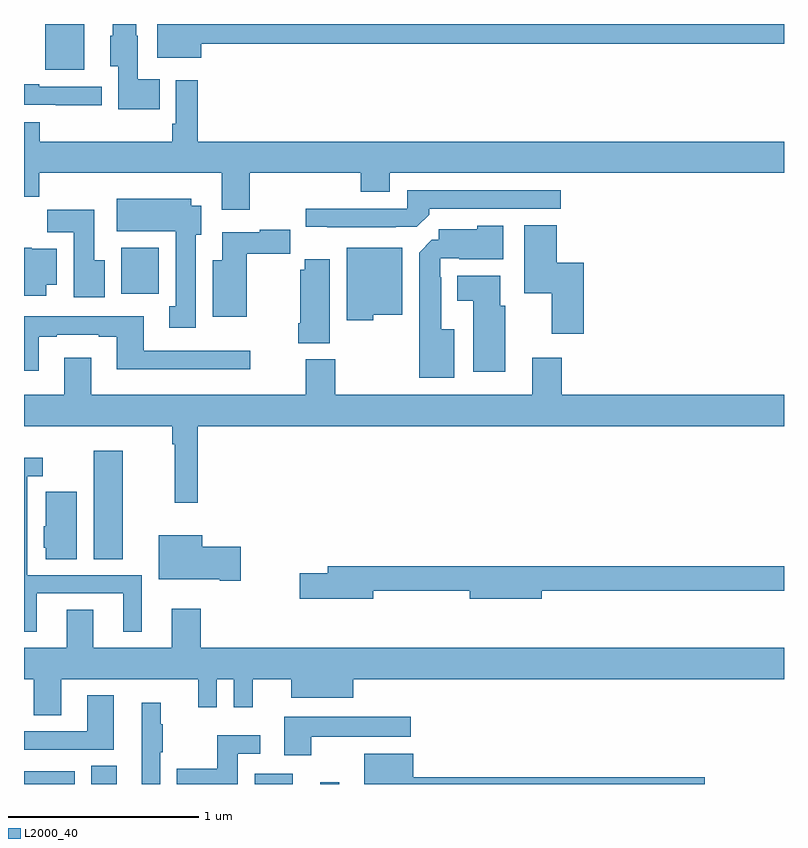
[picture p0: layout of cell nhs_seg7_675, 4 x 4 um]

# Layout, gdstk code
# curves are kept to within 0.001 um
import gdstk
lib = gdstk.Library(unit=1e-6, precision=1e-09)
def R(c, l, rs):  # rectangles x0, y0, x1, y1
    for r in rs: c.add(gdstk.rectangle(r[:2], r[2:], *l))
def P(c, l, *ps):  # polygons
    for p in ps: c.add(gdstk.Polygon(p, *l))
L2000_40 = (2000, 40)

nhs_seg7_675 = lib.new_cell('nhs_seg7_675')
R(nhs_seg7_675, L2000_40, [(161,1064,161.266,1064.068), (161.354,1064,161.488,1064.096), (162.215,1064,162.415,1064.053), (162.56,1064,162.658,1064.008), (161.366,1065.184,161.521,1065.754), (161.513,1066.58,161.71,1066.822), (161.111,1067.759,161.317,1068)])
P(nhs_seg7_675, L2000_40, [(161.714,1067.71),(161.599,1067.71),(161.599,1067.937),(161.59,1067.937),(161.59,1068),(161.468,1068),(161.468,1067.937),(161.453,1067.937),(161.453,1067.778),(161.495,1067.778),(161.495,1067.552),(161.714,1067.552)],
  [(161.932,1067.896),(165,1067.896),(165,1068),(161.702,1068),(161.702,1067.822),(161.932,1067.822)],
  [(162.189,1067.216),(162.773,1067.216),(162.773,1067.117),(162.925,1067.117),(162.925,1067.216),(165,1067.216),(165,1067.38),(161.915,1067.38),(161.915,1067.704),(161.799,1067.704),(161.799,1067.476),(161.779,1067.476),(161.779,1067.38),(161.084,1067.38),(161.084,1067.482),(161,1067.482),(161,1067.092),(161.081,1067.092),(161.081,1067.216),(162.041,1067.216),(162.041,1067.022),(162.189,1067.022)],
  [(161.41,1067.67),(161.08,1067.67),(161.08,1067.683),(161,1067.683),(161,1067.574),(161.167,1067.574),(161.167,1067.573),(161.41,1067.573)],
  [(162.956,1066.932),(163.067,1066.932),(163.133,1066.997),(163.133,1067.028),(163.825,1067.028),(163.825,1067.124),(163.017,1067.124),(163.017,1067.028),(162.484,1067.028),(162.484,1066.933),(162.595,1066.933),(162.595,1066.931)],
  [(161.905,1066.89),(161.932,1066.89),(161.932,1067.044),(161.881,1067.044),(161.881,1067.08),(161.489,1067.08),(161.489,1066.91),(161.798,1066.91),(161.798,1066.514),(161.765,1066.514),(161.765,1066.401),(161.905,1066.401)],
  [(161.425,1066.756),(161.371,1066.756),(161.371,1067.022),(161.122,1067.022),(161.122,1066.904),(161.261,1066.904),(161.261,1066.563),(161.425,1066.563)],
  [(163.946,1066.744),(163.805,1066.744),(163.805,1066.942),(163.634,1066.942),(163.634,1066.582),(163.778,1066.582),(163.778,1066.371),(163.946,1066.371)],
  [(163.264,1066.393),(163.195,1066.393),(163.195,1066.667),(163.191,1066.667),(163.191,1066.767),(163.291,1066.767),(163.291,1066.763),(163.522,1066.763),(163.522,1066.939),(163.386,1066.939),(163.386,1066.921),(163.184,1066.921),(163.184,1066.864),(163.145,1066.864),(163.079,1066.797),(163.079,1066.139),(163.264,1066.139)],
  [(162.172,1066.79),(162.401,1066.79),(162.401,1066.916),(162.24,1066.916),(162.24,1066.903),(162.044,1066.903),(162.044,1066.756),(161.993,1066.756),(161.993,1066.46),(162.172,1066.46)],
  [(162.837,1066.469),(162.991,1066.469),(162.991,1066.822),(162.698,1066.822),(162.698,1066.442),(162.837,1066.442)],
  [(161.116,1066.628),(161.173,1066.628),(161.173,1066.816),(161.04,1066.816),(161.04,1066.822),(161,1066.822),(161,1066.571),(161.116,1066.571)],
  [(162.61,1066.763),(162.477,1066.763),(162.477,1066.707),(162.455,1066.707),(162.455,1066.426),(162.443,1066.426),(162.443,1066.321),(162.61,1066.321)],
  [(163.534,1066.518),(163.507,1066.518),(163.507,1066.675),(163.28,1066.675),(163.28,1066.544),(163.364,1066.544),(163.364,1066.17),(163.534,1066.17)],
  [(161.077,1066.353),(161.173,1066.353),(161.173,1066.365),(161.393,1066.365),(161.393,1066.353),(161.489,1066.353),(161.489,1066.184),(162.19,1066.184),(162.19,1066.281),(161.629,1066.281),(161.629,1066.461),(161,1066.461),(161,1066.176),(161.077,1066.176)],
  [(161.915,1065.884),(165,1065.884),(165,1066.048),(163.829,1066.048),(163.829,1066.243),(163.676,1066.243),(163.676,1066.048),(162.639,1066.048),(162.639,1066.236),(162.484,1066.236),(162.484,1066.048),(161.353,1066.048),(161.353,1066.243),(161.213,1066.243),(161.213,1066.048),(161,1066.048),(161,1065.884),(161.779,1065.884),(161.779,1065.788),(161.794,1065.788),(161.794,1065.48),(161.915,1065.48)],
  [(161.068,1065.003),(161.522,1065.003),(161.522,1064.802),(161.62,1064.802),(161.62,1065.099),(161.016,1065.099),(161.016,1065.621),(161.098,1065.621),(161.098,1065.718),(161,1065.718),(161,1064.802),(161.068,1064.802)],
  [(161.278,1065.538),(161.114,1065.538),(161.114,1065.357),(161.105,1065.357),(161.105,1065.243),(161.114,1065.243),(161.114,1065.184),(161.278,1065.184)],
  [(162.142,1065.248),(161.938,1065.248),(161.938,1065.31),(161.708,1065.31),(161.708,1065.077),(162.029,1065.077),(162.029,1065.07),(162.142,1065.07)],
  [(162.838,1065.018),(163.346,1065.018),(163.346,1064.975),(163.726,1064.975),(163.726,1065.018),(165,1065.018),(165,1065.146),(162.599,1065.146),(162.599,1065.11),(162.45,1065.11),(162.45,1064.975),(162.838,1064.975)],
  [(161.197,1064.552),(161.918,1064.552),(161.918,1064.403),(162.015,1064.403),(162.015,1064.552),(162.105,1064.552),(162.105,1064.403),(162.203,1064.403),(162.203,1064.552),(162.407,1064.552),(162.407,1064.453),(162.733,1064.453),(162.733,1064.552),(165,1064.552),(165,1064.716),(161.93,1064.716),(161.93,1064.923),(161.777,1064.923),(161.777,1064.716),(161.365,1064.716),(161.365,1064.918),(161.225,1064.918),(161.225,1064.716),(161,1064.716),(161,1064.552),(161.05,1064.552),(161.05,1064.362),(161.197,1064.362)],
  [(161.473,1064.467),(161.333,1064.467),(161.333,1064.277),(161,1064.277),(161,1064.181),(161.473,1064.181)],
  [(161.718,1064.167),(161.731,1064.167),(161.731,1064.315),(161.72,1064.315),(161.72,1064.428),(161.621,1064.428),(161.621,1064),(161.718,1064)],
  [(162.511,1064.249),(163.036,1064.249),(163.036,1064.353),(162.371,1064.353),(162.371,1064.151),(162.511,1064.151)],
  [(162.126,1064.16),(162.244,1064.16),(162.244,1064.257),(162.018,1064.257),(162.018,1064.079),(161.803,1064.079),(161.803,1064),(162.126,1064)],
  [(164.584,1064.036),(163.048,1064.036),(163.048,1064.158),(162.791,1064.158),(162.791,1064),(164.584,1064)])

lib.write_gds('nhs_seg7_675.gds')
